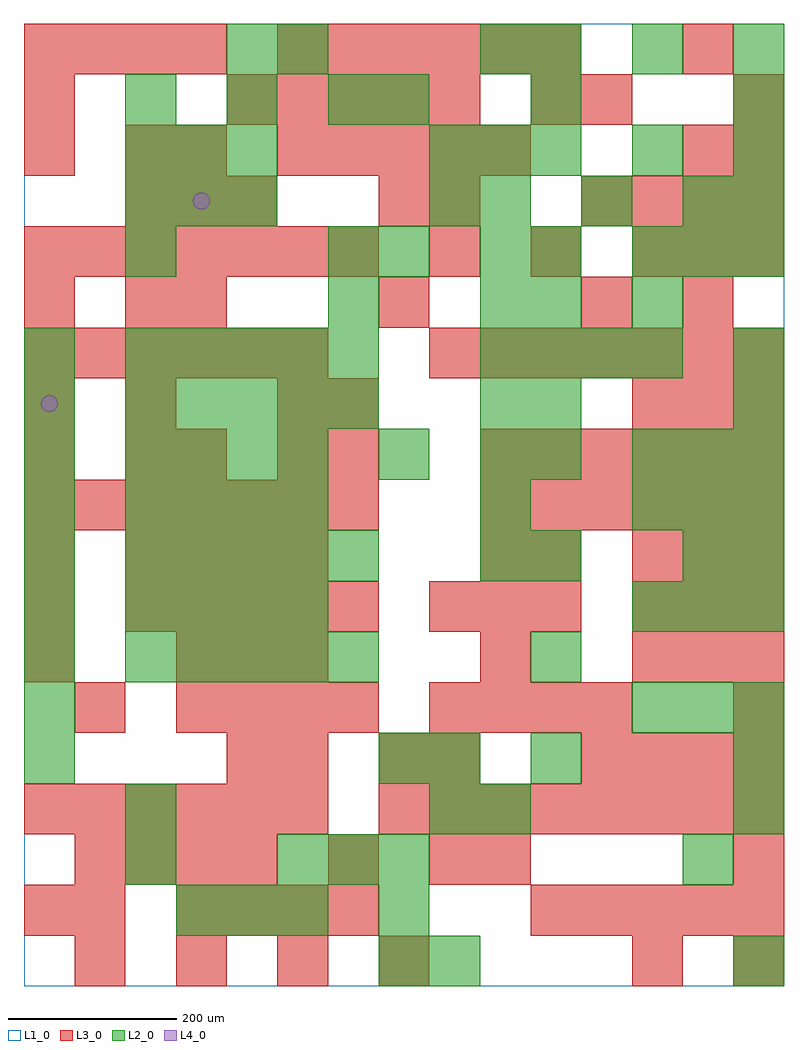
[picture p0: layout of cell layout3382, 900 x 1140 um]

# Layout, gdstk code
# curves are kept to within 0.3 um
import gdstk
lib = gdstk.Library(unit=1e-6, precision=1e-09)
def R(c, l, rs):  # rectangles x0, y0, x1, y1
    for r in rs: c.add(gdstk.rectangle(r[:2], r[2:], *l))
def A(c, l, x, y, w, h, nx, ny, dx, dy):  # array of equal rectangles
    R(c, l, [(x+i*dx, y+j*dy, x+i*dx+w, y+j*dy+h) for i in range(nx) for j in range(ny)])
def P(c, l, *ps):  # polygons
    for p in ps: c.add(gdstk.Polygon(p, *l))
L1_0 = (1, 0)
L2_0 = (2, 0)
L3_0 = (3, 0)
L4_0 = (4, 0)

layout3382 = lib.new_cell('layout3382')
R(layout3382, L1_0, [(0,0,900,1140)])
A(layout3382, L2_0, 180, 60, 60, 60, 3, 1, 60, 0)
A(layout3382, L2_0, 300, 120, 60, 60, 3, 1, 60, 0)
A(layout3382, L2_0, 0, 240, 60, 60, 1, 9, 0, 60)
A(layout3382, L2_0, 600, 240, 60, 60, 1, 4, 0, 120)
A(layout3382, L2_0, 720, 300, 60, 60, 3, 3, 60, 120)
A(layout3382, L2_0, 120, 360, 60, 60, 5, 2, 60, 120)
A(layout3382, L2_0, 120, 420, 60, 60, 4, 2, 60, 120)
A(layout3382, L2_0, 540, 480, 60, 60, 1, 4, 0, 60)
A(layout3382, L2_0, 120, 600, 60, 60, 4, 1, 60, 0)
A(layout3382, L2_0, 720, 600, 60, 60, 3, 2, 60, 240)
A(layout3382, L2_0, 120, 660, 60, 60, 5, 2, 60, 60)
A(layout3382, L2_0, 540, 720, 60, 60, 4, 1, 60, 0)
A(layout3382, L2_0, 120, 900, 60, 60, 3, 2, 60, 60)
A(layout3382, L2_0, 540, 900, 60, 60, 3, 1, 120, 0)
A(layout3382, L2_0, 840, 900, 60, 60, 1, 3, 0, 60)
A(layout3382, L2_0, 480, 960, 60, 60, 3, 1, 60, 0)
A(layout3382, L2_0, 120, 1020, 60, 60, 3, 1, 120, 0)
A(layout3382, L2_0, 600, 1080, 60, 60, 3, 1, 120, 0)
R(layout3382, L2_0, [(420,0,480,60), (480,0,540,60), (840,0,900,60), (420,60,480,120), (120,120,180,180), (780,120,840,180), (120,180,180,240), (480,180,540,240), (540,180,600,240), (840,180,900,240), (420,240,480,300), (480,240,540,300), (840,240,900,300), (780,480,840,540), (840,480,900,540), (420,600,480,660), (600,660,660,720), (840,660,900,720), (840,720,900,780), (360,780,420,840), (540,780,600,840), (600,780,660,840), (720,780,780,840), (120,840,180,900), (360,840,420,900), (420,840,480,900), (540,840,600,900), (600,840,660,900), (480,900,540,960), (720,960,780,1020), (420,1020,480,1080), (600,1020,660,1080), (240,1080,300,1140), (300,1080,360,1140), (540,1080,600,1140)])
A(layout3382, L3_0, 60, 0, 60, 60, 4, 1, 120, 0)
A(layout3382, L3_0, 180, 60, 60, 60, 4, 2, 60, 240)
A(layout3382, L3_0, 600, 60, 60, 60, 5, 1, 60, 0)
A(layout3382, L3_0, 60, 120, 60, 60, 4, 1, 60, 0)
A(layout3382, L3_0, 0, 180, 60, 60, 6, 2, 60, 540)
A(layout3382, L3_0, 420, 180, 60, 60, 8, 1, 60, 0)
A(layout3382, L3_0, 660, 240, 60, 60, 4, 2, 60, 660)
A(layout3382, L3_0, 480, 300, 60, 60, 4, 1, 60, 0)
A(layout3382, L3_0, 0, 360, 60, 60, 1, 3, 0, 60)
A(layout3382, L3_0, 180, 360, 60, 60, 3, 1, 60, 0)
A(layout3382, L3_0, 720, 360, 60, 60, 3, 3, 60, 60)
A(layout3382, L3_0, 120, 420, 60, 60, 5, 1, 60, 0)
A(layout3382, L3_0, 480, 420, 60, 60, 3, 1, 60, 0)
A(layout3382, L3_0, 120, 480, 60, 60, 4, 1, 60, 0)
A(layout3382, L3_0, 0, 540, 60, 60, 7, 2, 60, 300)
A(layout3382, L3_0, 540, 540, 60, 60, 6, 2, 60, 60)
A(layout3382, L3_0, 720, 660, 60, 60, 3, 1, 60, 0)
A(layout3382, L3_0, 480, 720, 60, 60, 7, 1, 60, 0)
A(layout3382, L3_0, 180, 780, 60, 60, 3, 1, 240, 0)
A(layout3382, L3_0, 480, 840, 60, 60, 3, 1, 120, 0)
A(layout3382, L3_0, 780, 840, 60, 60, 1, 3, 0, 120)
A(layout3382, L3_0, 120, 900, 60, 60, 3, 1, 60, 0)
A(layout3382, L3_0, 300, 960, 60, 60, 5, 1, 60, 0)
A(layout3382, L3_0, 240, 1020, 60, 60, 5, 1, 60, 0)
A(layout3382, L3_0, 0, 1080, 60, 60, 4, 1, 60, 0)
A(layout3382, L3_0, 300, 1080, 60, 60, 6, 1, 60, 0)
R(layout3382, L3_0, [(720,0,780,60), (840,0,900,60), (0,60,60,120), (60,60,120,120), (360,120,420,180), (480,120,540,180), (540,120,600,180), (840,120,900,180), (240,240,300,300), (300,240,360,300), (420,240,480,300), (480,240,540,300), (60,300,120,360), (840,300,900,360), (540,360,600,420), (540,480,600,540), (600,480,660,540), (0,600,60,660), (120,600,180,660), (180,600,240,660), (300,600,360,660), (360,600,420,660), (0,660,60,720), (120,660,180,720), (300,660,360,720), (360,660,420,720), (0,780,60,840), (120,780,180,840), (780,780,840,840), (840,840,900,900), (420,900,480,960), (480,900,540,960), (0,960,60,1020), (120,960,180,1020), (180,960,240,1020), (840,960,900,1020), (0,1020,60,1080), (600,1020,660,1080), (660,1020,720,1080), (840,1020,900,1080)])
P(layout3382, L4_0, [(40,690),(39.239,693.827),(37.071,697.071),(33.827,699.239),(30,700),(26.173,699.239),(22.929,697.071),(20.761,693.827),(20,690),(20.761,686.173),(22.929,682.929),(26.173,680.761),(30,680),(33.827,680.761),(37.071,682.929),(39.239,686.173)],
  [(220,930),(219.239,933.827),(217.071,937.071),(213.827,939.239),(210,940),(206.173,939.239),(202.929,937.071),(200.761,933.827),(200,930),(200.761,926.173),(202.929,922.929),(206.173,920.761),(210,920),(213.827,920.761),(217.071,922.929),(219.239,926.173)])

lib.write_gds('layout3382.gds')
